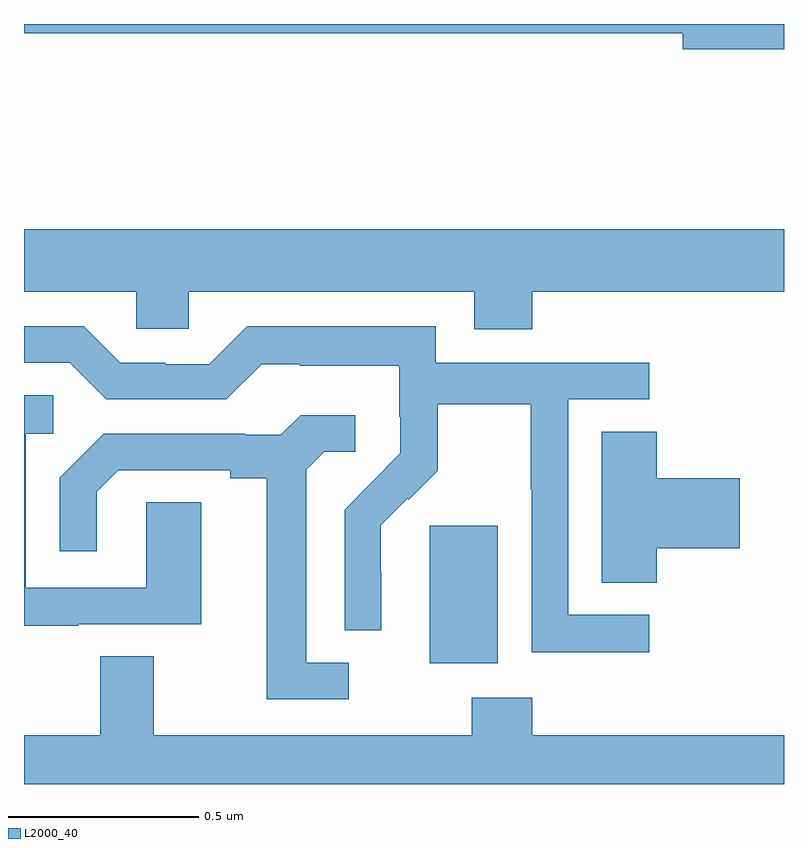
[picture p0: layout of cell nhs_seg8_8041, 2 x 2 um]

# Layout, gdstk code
import gdstk
lib = gdstk.Library(unit=1e-6, precision=1e-09)
def R(c, l, rs):  # rectangles x0, y0, x1, y1
    for r in rs: c.add(gdstk.rectangle(r[:2], r[2:], *l))
def P(c, l, *ps):  # polygons
    for p in ps: c.add(gdstk.Polygon(p, *l))
L2000_40 = (2000, 40)

nhs_seg8_8041 = lib.new_cell('nhs_seg8_8041')
R(nhs_seg8_8041, L2000_40, [(219.068,1086.218,219.247,1086.579)])
P(nhs_seg8_8041, L2000_40, [(220,1087.9),(218,1087.9),(218,1087.876),(219.734,1087.876),(219.734,1087.834),(220,1087.834)],
  [(219.338,1087.196),(220,1087.196),(220,1087.36),(218,1087.36),(218,1087.196),(218.295,1087.196),(218.295,1087.098),(218.433,1087.098),(218.433,1087.196),(219.185,1087.196),(219.185,1087.097),(219.338,1087.097)],
  [(219.646,1086.345),(219.432,1086.345),(219.432,1086.912),(219.646,1086.912),(219.646,1087.008),(219.084,1087.008),(219.084,1087.105),(218.587,1087.105),(218.487,1087.005),(218.372,1087.005),(218.372,1087.008),(218.253,1087.008),(218.157,1087.104),(218,1087.104),(218,1087.008),(218.121,1087.008),(218.217,1086.912),(218.532,1086.912),(218.625,1087.005),(218.725,1087.005),(218.725,1087.001),(218.988,1087.001),(218.988,1086.867),(218.99,1086.867),(218.99,1086.77),(218.916,1086.696),(218.917,1086.695),(218.844,1086.622),(218.844,1086.304),(218.94,1086.304),(218.94,1086.458),(218.939,1086.458),(218.939,1086.581),(219.009,1086.651),(219.012,1086.648),(219.089,1086.725),(219.089,1086.9),(219.334,1086.9),(219.334,1086.676),(219.336,1086.676),(219.336,1086.247),(219.646,1086.247)],
  [(218.143,1086.321),(218.467,1086.321),(218.467,1086.641),(218.322,1086.641),(218.322,1086.417),(218.004,1086.417),(218.004,1086.822),(218.077,1086.822),(218.077,1086.923),(218,1086.923),(218,1086.317),(218.143,1086.317)],
  [(218.854,1086.219),(218.743,1086.219),(218.743,1086.727),(218.79,1086.774),(218.872,1086.774),(218.872,1086.871),(218.728,1086.871),(218.676,1086.819),(218.582,1086.819),(218.582,1086.822),(218.21,1086.822),(218.094,1086.706),(218.094,1086.513),(218.191,1086.513),(218.191,1086.669),(218.248,1086.726),(218.543,1086.726),(218.543,1086.704),(218.639,1086.704),(218.639,1086.123),(218.854,1086.123)],
  [(219.665,1086.521),(219.883,1086.521),(219.883,1086.704),(219.665,1086.704),(219.665,1086.827),(219.521,1086.827),(219.521,1086.43),(219.665,1086.43)],
  [(220,1086.028),(219.338,1086.028),(219.338,1086.127),(219.178,1086.127),(219.178,1086.028),(218.341,1086.028),(218.341,1086.236),(218.201,1086.236),(218.201,1086.028),(218,1086.028),(218,1085.9),(220,1085.9)])

lib.write_gds('nhs_seg8_8041.gds')
